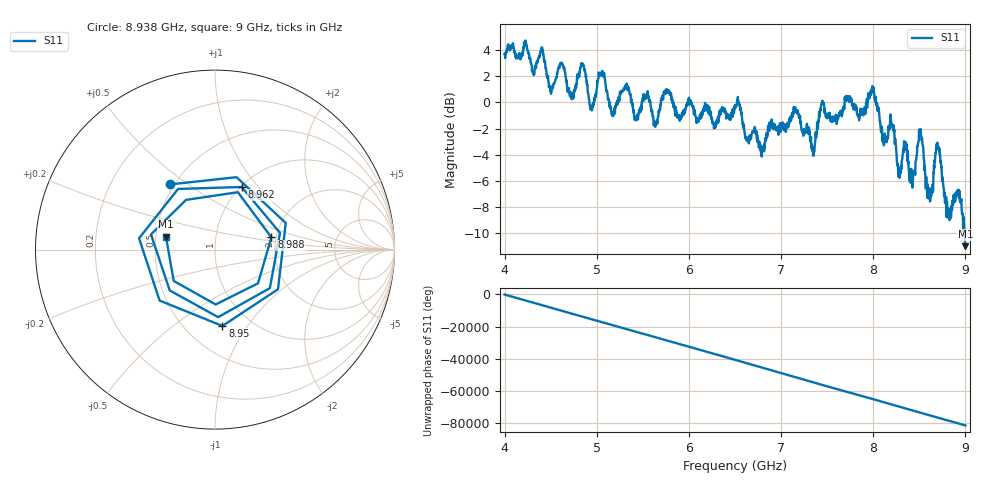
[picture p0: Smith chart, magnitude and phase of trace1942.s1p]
! Created with skrf 1.8.0 (http://scikit-rf.org).
# Hz S RI R 50.0
!freq ReS11 ImS11
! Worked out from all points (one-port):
!   1601 points, 4 GHz to 9 GHz, reference 50 ohm
!   lowest |S11| = -11.0 dB at 9 GHz (marker M1), VSWR 1.79, Z = 28.3 + j4.45 ohm
!   |S11| at or under -10 dB: 8.988907 GHz to end of sweep
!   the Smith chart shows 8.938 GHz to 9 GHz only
!   S11 on the Smith chart (normalised r, x): 8.938 GHz: 0.47, +0.43; 8.95 GHz: 0.74, -0.77; 8.962 GHz: 1.01, +0.82; 8.988 GHz: 1.89, +0.29; 9 GHz: 0.57, +0.09
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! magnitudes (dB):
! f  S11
! 4 GHz  3.7
! 4.4 GHz  4.1
! 4.506 GHz  0.8
! 4.625 GHz  3.0
! 4.728 GHz  0.2
! 4.853 GHz  2.9
! 4.944 GHz  -0.4
! 5.047 GHz  2.2
! 5.25 GHz  0.8
! 5.875 GHz  -1.1
! 6.5 GHz  -0.2
! 6.797 GHz  -3.7
! 7.125 GHz  -1.1
! 7.347 GHz  -3.8
! 7.444 GHz  -0.1
! 7.75 GHz  0.4
! 7.994 GHz  1.1
! 8.281 GHz  -5.6
! 8.375 GHz  -3.7
! 8.516 GHz  -2.3
! 8.612 GHz  -6.7
! 8.7 GHz  -3.3
! 8.819 GHz  -8.8
! 8.938 GHz  -7.1
! 8.95 GHz  -7.4
! 8.962 GHz  -8.4
! 8.988 GHz  -9.9
! 9 GHz  -11.0
